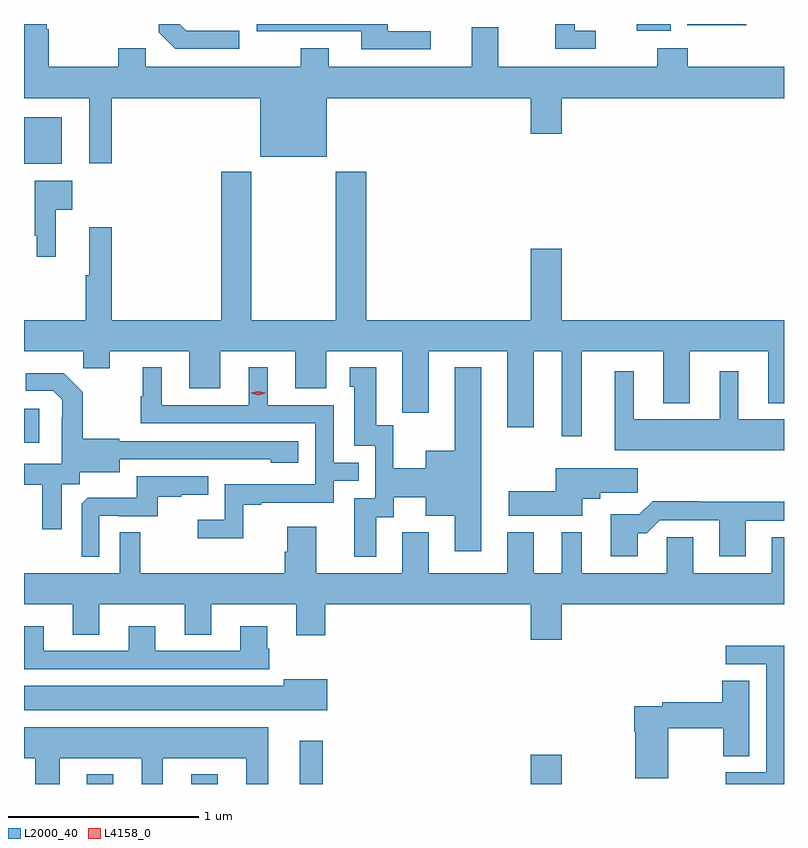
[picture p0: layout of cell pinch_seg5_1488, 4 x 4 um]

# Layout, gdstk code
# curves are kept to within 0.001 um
import gdstk
lib = gdstk.Library(unit=1e-6, precision=1e-09)
def R(c, l, rs):  # rectangles x0, y0, x1, y1
    for r in rs: c.add(gdstk.rectangle(r[:2], r[2:], *l))
def P(c, l, *ps):  # polygons
    for p in ps: c.add(gdstk.Polygon(p, *l))
L2000_40 = (2000, 40)
L4158_0 = (4158, 0)

pinch_seg5_1488 = lib.new_cell('pinch_seg5_1488')
R(pinch_seg5_1488, L2000_40, [(258.575,845.158,258.715,845.209), (259.127,845.158,259.267,845.209), (259.697,845.158,259.819,845.386), (260.912,845.158,261.076,845.311), (258.246,846.954,258.325,847.134), (258.246,848.423,258.445,848.668), (261.47,849.122,261.649,849.158), (261.738,849.151,262.048,849.158)])
P(pinch_seg5_1488, L2000_40, [(260.386,849.12),(260.161,849.12),(260.161,849.158),(259.47,849.158),(259.47,849.12),(260.021,849.12),(260.021,849.024),(260.386,849.024)],
  [(259.49,848.459),(259.84,848.459),(259.84,848.768),(260.912,848.768),(260.912,848.58),(261.076,848.58),(261.076,848.768),(262.246,848.768),(262.246,848.932),(261.74,848.932),(261.74,849.031),(261.58,849.031),(261.58,848.932),(260.743,848.932),(260.743,849.14),(260.603,849.14),(260.603,848.932),(259.849,848.932),(259.849,849.031),(259.702,849.031),(259.702,848.932),(258.888,848.932),(258.888,849.031),(258.742,849.031),(258.742,848.932),(258.375,848.932),(258.375,849.131),(258.367,849.131),(258.367,849.158),(258.246,849.158),(258.246,848.768),(258.59,848.768),(258.59,848.424),(258.707,848.424),(258.707,848.768),(259.49,848.768)],
  [(261.256,849.123),(261.145,849.123),(261.145,849.158),(261.041,849.158),(261.041,849.027),(261.256,849.027)],
  [(259.378,849.123),(259.101,849.123),(259.066,849.158),(258.954,849.158),(258.954,849.114),(259.041,849.027),(259.378,849.027)],
  [(261.181,847.436),(261.611,847.436),(261.611,847.163),(261.751,847.163),(261.751,847.436),(262.163,847.436),(262.163,847.163),(262.246,847.163),(262.246,847.6),(261.076,847.6),(261.076,847.975),(260.912,847.975),(260.912,847.6),(260.048,847.6),(260.048,848.38),(259.888,848.38),(259.888,847.6),(259.443,847.6),(259.443,848.38),(259.283,848.38),(259.283,847.6),(258.707,847.6),(258.707,848.089),(258.59,848.089),(258.59,847.836),(258.571,847.836),(258.571,847.6),(258.246,847.6),(258.246,847.436),(258.559,847.436),(258.559,847.346),(258.697,847.346),(258.697,847.436),(259.115,847.436),(259.115,847.242),(259.279,847.242),(259.279,847.436),(259.673,847.436),(259.673,847.242),(259.837,847.242),(259.837,847.436),(260.237,847.436),(260.237,847.225),(260.238,847.225),(260.238,847.113),(260.377,847.113),(260.377,847.436),(260.789,847.436),(260.789,847.035),(260.929,847.035),(260.929,847.436),(261.077,847.436),(261.077,846.987),(261.181,846.987)],
  [(258.413,848.18),(258.499,848.18),(258.499,848.332),(258.303,848.332),(258.303,848.044),(258.313,848.044),(258.313,847.932),(258.413,847.932)],
  [(260.101,846.562),(260.191,846.562),(260.191,846.668),(260.36,846.668),(260.36,846.569),(260.513,846.569),(260.513,846.384),(260.653,846.384),(260.653,847.351),(260.513,847.351),(260.513,846.913),(260.36,846.913),(260.36,846.82),(260.19,846.82),(260.19,847.047),(260.101,847.047),(260.101,847.351),(259.961,847.351),(259.961,847.248),(259.985,847.248),(259.985,846.939),(260.094,846.939),(260.094,846.663),(259.985,846.663),(259.985,846.354),(260.101,846.354)],
  [(259.401,846.627),(259.495,846.627),(259.495,846.639),(259.875,846.639),(259.875,846.753),(260.009,846.753),(260.009,846.849),(259.875,846.849),(259.875,847.152),(259.528,847.152),(259.528,847.351),(259.43,847.351),(259.43,847.152),(258.97,847.152),(258.97,847.351),(258.872,847.351),(258.872,847.2),(258.861,847.2),(258.861,847.056),(259.779,847.056),(259.779,846.735),(259.302,846.735),(259.302,846.55),(259.161,846.55),(259.161,846.452),(259.401,846.452)],
  [(262.246,847.078),(262.006,847.078),(262.006,847.33),(261.908,847.33),(261.908,847.078),(261.454,847.078),(261.454,847.33),(261.356,847.33),(261.356,846.914),(262.246,846.914)],
  [(258.445,846.736),(258.54,846.736),(258.54,846.8),(258.751,846.8),(258.751,846.867),(259.545,846.866),(259.545,846.848),(259.69,846.848),(259.69,846.963),(258.747,846.963),(258.747,846.976),(258.555,846.976),(258.555,847.221),(258.455,847.321),(258.255,847.321),(258.255,847.227),(258.399,847.227),(258.446,847.18),(258.446,847.085),(258.444,847.085),(258.444,846.844),(258.246,846.844),(258.246,846.734),(258.341,846.734),(258.341,846.498),(258.445,846.498)],
  [(261.184,846.659),(261.28,846.659),(261.28,846.691),(261.475,846.691),(261.475,846.82),(261.044,846.82),(261.044,846.699),(260.796,846.699),(260.796,846.569),(261.184,846.569)],
  [(258.642,846.57),(258.742,846.57),(258.742,846.567),(258.95,846.567),(258.95,846.669),(259.073,846.669),(259.073,846.68),(259.217,846.68),(259.217,846.777),(258.84,846.777),(258.84,846.665),(258.581,846.665),(258.549,846.633),(258.549,846.353),(258.642,846.353)],
  [(261.475,846.479),(261.524,846.479),(261.591,846.546),(261.905,846.546),(261.905,846.357),(262.045,846.357),(262.045,846.543),(262.246,846.543),(262.246,846.644),(261.809,846.644),(261.809,846.647),(261.554,846.647),(261.484,846.577),(261.335,846.577),(261.335,846.357),(261.475,846.357)],
  [(258.859,846.482),(258.75,846.482),(258.75,846.268),(258.246,846.268),(258.246,846.104),(258.503,846.104),(258.503,845.944),(258.643,845.944),(258.643,846.104),(259.091,846.104),(259.091,845.944),(259.231,845.944),(259.231,846.104),(259.679,846.104),(259.679,845.94),(259.832,845.94),(259.832,846.104),(260.912,846.104),(260.912,845.916),(261.076,845.916),(261.076,846.104),(262.246,846.104),(262.246,846.458),(262.181,846.458),(262.181,846.268),(261.769,846.268),(261.769,846.458),(261.63,846.458),(261.63,846.268),(261.181,846.268),(261.181,846.484),(261.077,846.484),(261.077,846.268),(260.929,846.268),(260.929,846.484),(260.789,846.484),(260.789,846.268),(260.377,846.268),(260.377,846.484),(260.237,846.484),(260.237,846.268),(259.783,846.268),(259.783,846.511),(259.631,846.511),(259.631,846.381),(259.619,846.381),(259.619,846.268),(258.859,846.268)],
  [(259.538,845.871),(259.525,845.871),(259.525,845.989),(259.385,845.989),(259.385,845.859),(258.937,845.859),(258.937,845.989),(258.797,845.989),(258.797,845.859),(258.349,845.859),(258.349,845.989),(258.246,845.989),(258.246,845.763),(259.538,845.763)],
  [(262.246,845.886),(261.939,845.886),(261.939,845.787),(262.152,845.787),(262.152,845.22),(261.939,845.22),(261.939,845.158),(262.246,845.158)],
  [(259.843,845.71),(259.613,845.71),(259.613,845.674),(258.246,845.674),(258.246,845.546),(259.843,845.546)],
  [(261.636,845.452),(261.925,845.452),(261.925,845.305),(262.063,845.305),(262.063,845.702),(261.92,845.702),(261.92,845.588),(261.604,845.588),(261.604,845.568),(261.458,845.568),(261.458,845.435),(261.463,845.435),(261.463,845.187),(261.636,845.187)],
  [(258.433,845.294),(258.866,845.294),(258.866,845.158),(258.976,845.158),(258.976,845.294),(259.415,845.294),(259.415,845.158),(259.531,845.158),(259.531,845.458),(258.246,845.458),(258.246,845.294),(258.305,845.294),(258.305,845.158),(258.433,845.158)])
P(pinch_seg5_1488, L4158_0, [(259.479,847.205),(259.443,847.215),(259.443,847.215),(259.443,847.216),(259.479,847.225),(259.515,847.216),(259.515,847.215),(259.515,847.215)])

lib.write_gds('pinch_seg5_1488.gds')
